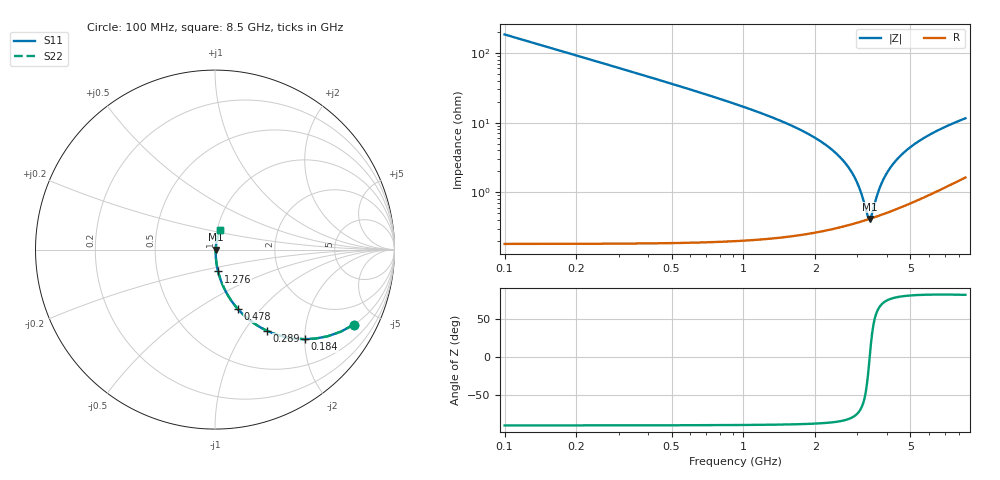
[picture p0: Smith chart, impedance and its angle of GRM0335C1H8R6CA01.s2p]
!Murata Part Number: GRM0335C1H8R6CA01
!These Parameters are Measured in Series Mode Connection
!Data Generated on Mar 30, 2021
!  o--ll--o
!Port1  Port2
!  o------o
!Operation Temp=25[degC], DC Bias Voltage=0[V]
!Freq. Start=100[MHz] Stop=9[GHz] 401[Steps]
# Hz S RI R 50
!Freq.(Hz) S11(Real) S11(Imag) S21(Real) S21(Imag) S12(Real) S12(Imag) S22(Real) S22(Imag)
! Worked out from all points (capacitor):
!   401 points, 100 MHz to 8.5 GHz, reference 50 ohm
!   read as one part in series: C = 8.6 pF near 142 MHz
!   lowest |Z| = 413 mohm at 3.376 GHz (marker M1)
!   series resonance near 3.378 GHz, so ESL is about 260 pH
!   S11 on the Smith chart (normalised r, x): 100 MHz: 1.00, -3.70; 184 MHz: 1.00, -2.01; 289 MHz: 1.00, -1.27; 478 MHz: 1.00, -0.76; 1.276 GHz: 1.00, -0.25; 8.5 GHz: 1.03, +0.23
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1e8  0.7735 -0.4181  0.2265 0.4181  0.2265 0.4181  0.7735 -0.4181
1.84e8  0.5014 -0.4991  0.4986 0.4991  0.4986 0.4991  0.5014 -0.4991
2.89e8  0.2883 -0.4516  0.7117 0.4516  0.7117 0.4516  0.2883 -0.4516
4.78e8  0.127 -0.3306  0.873 0.3306  0.873 0.3306  0.127 -0.3306
8.14e8  0.0455 -0.204  0.9545 0.204  0.9545 0.204  0.0455 -0.204
1.276e9  0.0172 -0.1219  0.9828 0.1219  0.9828 0.1219  0.0172 -0.1219
1.507e9  0.0118 -0.0969  0.9882 0.0969  0.9882 0.0969  0.0118 -0.0969
2.41e9  0.00438 -0.0374  0.9956 0.0374  0.9956 0.0374  0.00438 -0.0374
2.683e9  0.0039 -0.0252  0.9961 0.0252  0.9961 0.0252  0.0039 -0.0252
2.914e9  0.00378 -0.0161  0.9962 0.0161  0.9962 0.0161  0.00378 -0.0161
3.103e9  0.00384 -0.00922  0.9962 0.00922  0.9962 0.00922  0.00384 -0.00922
3.313e9  0.00403 -0.0021  0.996 0.0021  0.996 0.0021  0.00403 -0.0021
3.376e9  0.00411 -5.93e-05  0.9959 5.93e-05  0.9959 5.93e-05  0.00411 -5.93e-05
3.439e9  0.0042 0.00194  0.9958 -0.00194  0.9958 -0.00194  0.0042 0.00194
3.628e9  0.00453 0.00774  0.9955 -0.00774  0.9955 -0.00774  0.00453 0.00774
3.796e9  0.00488 0.0127  0.9951 -0.0127  0.9951 -0.0127  0.00488 0.0127
4.027e9  0.00545 0.0191  0.9946 -0.0191  0.9946 -0.0191  0.00545 0.0191
4.3e9  0.00623 0.0263  0.9938 -0.0263  0.9938 -0.0263  0.00623 0.0263
4.888e9  0.00828 0.0406  0.9917 -0.0406  0.9917 -0.0406  0.00828 0.0406
5.707e9  0.0118 0.0585  0.9882 -0.0585  0.9882 -0.0585  0.0118 0.0585
7.114e9  0.0193 0.0856  0.9807 -0.0856  0.9807 -0.0856  0.0193 0.0856
8.5e9  0.0283 0.1092  0.9717 -0.1092  0.9717 -0.1092  0.0283 0.1092
